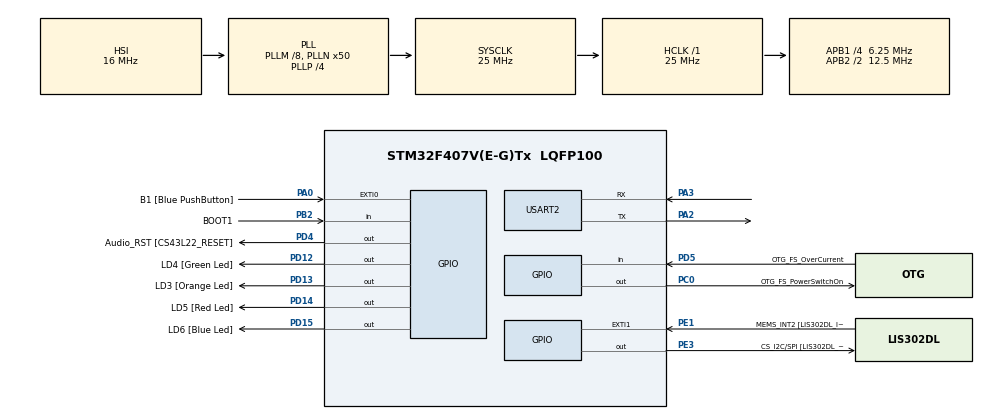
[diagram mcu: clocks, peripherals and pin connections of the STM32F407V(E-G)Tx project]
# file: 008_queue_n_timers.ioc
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Mcu.Family=STM32F4
Mcu.Name=STM32F407V(E-G)Tx
Mcu.Package=LQFP100
NVIC.PriorityGroup=NVIC_PRIORITYGROUP_4
NVIC.TIM6_DAC_IRQn=true\:15\:0\:false\:false\:true\:false\:true\:true
NVIC.TimeBase=TIM6_DAC_IRQn
NVIC.TimeBaseIP=TIM6
NVIC.USART2_IRQn=true\:6\:0\:true\:false\:true\:true\:true\:true
PA0-WKUP.GPIO_Label=B1 [Blue PushButton]
PA0-WKUP.Signal=GPXTI0
PA10.GPIO_Label=OTG_FS_ID
PA10.GPIO_Mode=GPIO_MODE_AF_PP
PA10.GPIO_PuPd=GPIO_NOPULL
PA10.GPIO_Speed=GPIO_SPEED_FREQ_LOW
PA10.Signal=USB_OTG_FS_ID
PA11.GPIO_Label=OTG_FS_DM
PA11.GPIO_Mode=GPIO_MODE_AF_PP
PA11.GPIO_PuPd=GPIO_NOPULL
PA11.GPIO_Speed=GPIO_SPEED_FREQ_LOW
PA11.Signal=USB_OTG_FS_DM
PA12.GPIO_Label=OTG_FS_DP
PA12.GPIO_Mode=GPIO_MODE_AF_PP
PA12.GPIO_PuPd=GPIO_NOPULL
PA12.GPIO_Speed=GPIO_SPEED_FREQ_LOW
PA12.Signal=USB_OTG_FS_DP
PA13.GPIO_Label=SWDIO
PA13.Signal=SYS_JTMS-SWDIO
PA14.GPIO_Label=SWCLK
PA14.Signal=SYS_JTCK-SWCLK
PA2.Mode=Asynchronous
PA2.Signal=USART2_TX
PA3.Mode=Asynchronous
PA3.Signal=USART2_RX
PA4.GPIO_Label=I2S3_WS [CS43L22_LRCK]
PA4.GPIO_Mode=GPIO_MODE_AF_PP
PA4.GPIO_PuPd=GPIO_NOPULL
PA4.GPIO_Speed=GPIO_SPEED_FREQ_LOW
PA4.Signal=I2S3_WS
PA5.GPIO_Label=SPI1_SCK [LIS302DL_SCL/SPC]
PA5.GPIO_Mode=GPIO_MODE_AF_PP
PA5.GPIO_PuPd=GPIO_NOPULL
PA5.GPIO_Speed=GPIO_SPEED_FREQ_LOW
PA5.Signal=SPI1_SCK
PA6.GPIO_Label=SPI1_MISO [LIS302DL_SDO]
PA6.GPIO_Mode=GPIO_MODE_AF_PP
PA6.GPIO_PuPd=GPIO_NOPULL
PA6.GPIO_Speed=GPIO_SPEED_FREQ_LOW
PA6.Signal=SPI1_MISO
PA7.GPIO_Label=SPI1_MOSI [LIS302DL_SDA/SDI/SDO]
PA7.GPIO_Mode=GPIO_MODE_AF_PP
PA7.GPIO_PuPd=GPIO_NOPULL
PA7.GPIO_Speed=GPIO_SPEED_FREQ_LOW
PA7.Signal=SPI1_MOSI
PA9.GPIO_Label=VBUS_FS
PA9.GPIO_Mode=GPIO_MODE_INPUT
PA9.GPIO_PuPd=GPIO_NOPULL
PA9.Signal=USB_OTG_FS_VBUS
PB10.GPIO_Label=CLK_IN [MP45DT02_CLK]
PB10.GPIO_Mode=GPIO_MODE_AF_PP
PB10.GPIO_PuPd=GPIO_NOPULL
PB10.GPIO_Speed=GPIO_SPEED_FREQ_LOW
PB10.Signal=I2S2_CK
PB2.GPIO_Label=BOOT1
PB2.GPIO_Mode=GPIO_MODE_INPUT
PB2.GPIO_PuPd=GPIO_NOPULL
PB2.Signal=GPIO_Input
PB3.GPIO_Label=SWO
PB3.Signal=SYS_JTDO-SWO
PB6.GPIO_Label=Audio_SCL [CS43L22_SCL]
PB6.GPIO_Mode=GPIO_MODE_AF_OD
PB6.GPIO_PuPd=GPIO_NOPULL
PB6.GPIO_Speed=GPIO_SPEED_FREQ_LOW
PB6.Signal=I2C1_SCL
PB9.GPIO_Label=Audio_SDA [CS43L22_SDA]
PB9.GPIO_Mode=GPIO_MODE_AF_OD
PB9.GPIO_PuPd=GPIO_NOPULL
PB9.GPIO_Speed=GPIO_SPEED_FREQ_LOW
PB9.Signal=I2C1_SDA
PC0.GPIO_Label=OTG_FS_PowerSwitchOn
PC0.GPIO_PuPd=GPIO_NOPULL
PC0.GPIO_Speed=GPIO_SPEED_FREQ_LOW
PC0.PinState=GPIO_PIN_SET
PC0.Signal=GPIO_Output
PC10.GPIO_Label=I2S3_SCK [CS43L22_SCLK]
PC10.GPIO_Mode=GPIO_MODE_AF_PP
PC10.GPIO_PuPd=GPIO_NOPULL
PC10.GPIO_Speed=GPIO_SPEED_FREQ_LOW
PC10.Signal=I2S3_CK
PC12.GPIO_Label=I2S3_SD [CS43L22_SDIN]
PC12.GPIO_Mode=GPIO_MODE_AF_PP
PC12.GPIO_PuPd=GPIO_NOPULL
PC12.GPIO_Speed=GPIO_SPEED_FREQ_LOW
PC12.Signal=I2S3_SD
PC14-OSC32_IN.GPIO_Label=PC14-OSC32_IN
PC14-OSC32_IN.Signal=RCC_OSC32_IN
PC15-OSC32_OUT.GPIO_Label=PC15-OSC32_OUT
PC15-OSC32_OUT.Signal=RCC_OSC32_OUT
PC3.GPIO_Label=PDM_OUT [MP45DT02_DOUT]
PC3.GPIO_Mode=GPIO_MODE_AF_PP
PC3.GPIO_PuPd=GPIO_NOPULL
PC3.GPIO_Speed=GPIO_SPEED_FREQ_LOW
PC3.Signal=I2S2_SD
PC7.GPIO_Label=I2S3_MCK [CS43L22_MCLK]
PC7.GPIO_Mode=GPIO_MODE_AF_PP
PC7.GPIO_PuPd=GPIO_NOPULL
PC7.GPIO_Speed=GPIO_SPEED_FREQ_LOW
PC7.Signal=I2S3_MCK
PD12.GPIO_Label=LD4 [Green Led]
PD12.GPIO_PuPd=GPIO_NOPULL
PD12.GPIO_Speed=GPIO_SPEED_FREQ_LOW
PD12.Signal=GPIO_Output
PD13.GPIO_Label=LD3 [Orange Led]
PD13.GPIO_PuPd=GPIO_NOPULL
PD13.GPIO_Speed=GPIO_SPEED_FREQ_LOW
PD13.Signal=GPIO_Output
PD14.GPIO_Label=LD5 [Red Led]
PD14.GPIO_PuPd=GPIO_NOPULL
PD14.GPIO_Speed=GPIO_SPEED_FREQ_LOW
PD14.Signal=GPIO_Output
PD15.GPIO_Label=LD6 [Blue Led]
PD15.GPIO_PuPd=GPIO_NOPULL
PD15.GPIO_Speed=GPIO_SPEED_FREQ_LOW
PD15.Signal=GPIO_Output
PD4.GPIO_Label=Audio_RST [CS43L22_RESET]
PD4.GPIO_PuPd=GPIO_NOPULL
PD4.GPIO_Speed=GPIO_SPEED_FREQ_LOW
PD4.Signal=GPIO_Output
PD5.GPIO_Label=OTG_FS_OverCurrent
PD5.GPIO_Mode=GPIO_MODE_INPUT
PD5.GPIO_PuPd=GPIO_NOPULL
PD5.Signal=GPIO_Input
PE1.GPIO_Label=MEMS_INT2 [LIS302DL_INT2]
PE1.GPIO_ModeDefaultEXTI=GPIO_MODE_EVT_RISING
PE1.GPIO_PuPd=GPIO_NOPULL
PE1.Signal=GPXTI1
PE3.GPIO_Label=CS_I2C/SPI [LIS302DL_CS_I2C/SPI]
PE3.GPIO_PuPd=GPIO_NOPULL
PE3.GPIO_Speed=GPIO_SPEED_FREQ_LOW
PE3.Signal=GPIO_Output
PH0-OSC_IN.GPIO_Label=PH0-OSC_IN
PH0-OSC_IN.Signal=RCC_OSC_IN
PH1-OSC_OUT.GPIO_Label=PH1-OSC_OUT
PH1-OSC_OUT.Signal=RCC_OSC_OUT
ProjectManager.HeapSize=0x200
ProjectManager.StackSize=0x400
ProjectManager.TargetToolchain=STM32CubeIDE
RCC.48MHZClocksFreq_Value=14285714.285714285
RCC.AHBFreq_Value=25000000
RCC.APB1CLKDivider=RCC_HCLK_DIV4
RCC.APB1Freq_Value=6250000
RCC.APB1TimFreq_Value=12500000
RCC.APB2CLKDivider=RCC_HCLK_DIV2
RCC.APB2Freq_Value=12500000
RCC.APB2TimFreq_Value=25000000
RCC.CortexFreq_Value=25000000
RCC.HCLKFreq_Value=25000000
RCC.HSE_VALUE=8000000
RCC.HSI_VALUE=16000000
RCC.LSE_VALUE=32768
RCC.PLLM=8
RCC.PLLN=50
RCC.PLLP=RCC_PLLP_DIV4
RCC.PLLQ=7
RCC.SYSCLKFreq_VALUE=25000000
RCC.SYSCLKSource=RCC_SYSCLKSOURCE_PLLCLK
RCC.VCOOutputFreq_Value=100000000
RTC.HourFormat=RTC_HOURFORMAT_12
USART2.VirtualMode=VM_ASYNC
VP_RTC_VS_RTC_Activate.Mode=RTC_Enabled
VP_SYS_VS_tim6.Mode=TIM6
board=STM32F407G-DISC1

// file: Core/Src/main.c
/* USER CODE BEGIN Header */
/**
  ******************************************************************************
  * @file           : main.c
  * @brief          : Main program body
  ******************************************************************************
  * @attention
  *
  * Copyright (c) 2026 STMicroelectronics.
  * All rights reserved.
  *
  * This software is licensed under terms that can be found in the LICENSE file
  * in the root directory of this software component.
  * If no LICENSE file comes with this software, it is provided AS-IS.
  *
  ******************************************************************************
  */
/* USER CODE END Header */
#include "main.h"

RTC_HandleTypeDef hrtc;

UART_HandleTypeDef huart2;

/* USER CODE BEGIN PV */

//taskHandle_t
TaskHandle_t cmd_handler ;
TaskHandle_t led_handler ;
TaskHandle_t menu_handler ;
TaskHandle_t print_handler ;

QueueHandle_t q_data;// each message is 1 byte data
QueueHandle_t q_print;// each message is address of string

volatile uint8_t user_data;

TimerHandle_t led_timer[4];

void led_effect_callback(TimerHandle_t xTimer);

/* USER CODE END PV */

void SystemClock_Config(void);
static void MX_GPIO_Init(void);
static void MX_RTC_Init(void);
static void MX_USART2_UART_Init(void);
/* USER CODE BEGIN PFP */

void cmd_handle_task(void * parameter);
void led_handle_task(void * parameter);
void menu_handle_task(void * parameter);
void print_handle_task(void * parameter);

/* USER CODE END PFP */

int main(void)
{

  /* USER CODE BEGIN 1 */
	BaseType_t status ;

  /* USER CODE END 1 */

  /* MCU Configuration--------------------------------------------------------*/

  /* Reset of all peripherals, Initializes the Flash interface and the Systick. */
  HAL_Init();

  /* Configure the system clock */
  SystemClock_Config();

  /* Initialize all configured peripherals */
  MX_GPIO_Init();
  MX_RTC_Init();
  MX_USART2_UART_Init();
  /* USER CODE BEGIN 2 */
  status = xTaskCreate(cmd_handle_task, "cmd_handle", 250, NULL, 2, &cmd_handler);

  configASSERT(status==pdPASS);

  status = xTaskCreate(led_handle_task, "led_handle", 250, NULL, 2, &led_handler);

  configASSERT(status==pdPASS);

  status = xTaskCreate(menu_handle_task, "menu_handle", 250, NULL, 2, &menu_handler);

  configASSERT(status==pdPASS);

  status = xTaskCreate(print_handle_task, "print_handle", 250, NULL, 2, &print_handler);

  configASSERT(status==pdPASS);

  q_data = xQueueCreate(10,sizeof(uint8_t));

  configASSERT(q_data != NULL);

  q_print = xQueueCreate(10,sizeof(size_t));

  configASSERT(q_print != NULL);

  for (int i=0;i<4;i++)
  {

	 led_timer[i] = xTimerCreate("led timer",
			  	  pdMS_TO_TICKS(500),
				  pdTRUE,
				  (void *)(i+1),
				  led_effect_callback);
	 configASSERT(led_timer[i] !=NULL);

  }

  HAL_UART_Receive_IT(&huart2,(uint8_t *) &user_data, 1);

  vTaskStartScheduler();

  /* USER CODE END 2 */

  /* Infinite loop */
  while (1)
  {

  }
}

void SystemClock_Config(void)
{
  RCC_OscInitTypeDef RCC_OscInitStruct = {0};
  RCC_ClkInitTypeDef RCC_ClkInitStruct = {0};

  /** Configure the main internal regulator output voltage
  */
  __HAL_RCC_PWR_CLK_ENABLE();
  __HAL_PWR_VOLTAGESCALING_CONFIG(PWR_REGULATOR_VOLTAGE_SCALE1);

  /** Initializes the RCC Oscillators according to the specified parameters
  * in the RCC_OscInitTypeDef structure.
  */
  RCC_OscInitStruct.OscillatorType = RCC_OSCILLATORTYPE_HSI|RCC_OSCILLATORTYPE_LSI;
  RCC_OscInitStruct.HSIState = RCC_HSI_ON;
  RCC_OscInitStruct.HSICalibrationValue = RCC_HSICALIBRATION_DEFAULT;
  RCC_OscInitStruct.LSIState = RCC_LSI_ON;
  RCC_OscInitStruct.PLL.PLLState = RCC_PLL_ON;
  RCC_OscInitStruct.PLL.PLLSource = RCC_PLLSOURCE_HSI;
  RCC_OscInitStruct.PLL.PLLM = 8;
  RCC_OscInitStruct.PLL.PLLN = 50;
  RCC_OscInitStruct.PLL.PLLP = RCC_PLLP_DIV4;
  RCC_OscInitStruct.PLL.PLLQ = 7;
  if (HAL_RCC_OscConfig(&RCC_OscInitStruct) != HAL_OK)
  {
    Error_Handler();
  }

  /** Initializes the CPU, AHB and APB buses clocks
  */
  RCC_ClkInitStruct.ClockType = RCC_CLOCKTYPE_HCLK|RCC_CLOCKTYPE_SYSCLK
                              |RCC_CLOCKTYPE_PCLK1|RCC_CLOCKTYPE_PCLK2;
  RCC_ClkInitStruct.SYSCLKSource = RCC_SYSCLKSOURCE_PLLCLK;
  RCC_ClkInitStruct.AHBCLKDivider = RCC_SYSCLK_DIV1;
  RCC_ClkInitStruct.APB1CLKDivider = RCC_HCLK_DIV4;
  RCC_ClkInitStruct.APB2CLKDivider = RCC_HCLK_DIV2;

  if (HAL_RCC_ClockConfig(&RCC_ClkInitStruct, FLASH_LATENCY_0) != HAL_OK)
  {
    Error_Handler();
  }
}

static void MX_RTC_Init(void)
{

  /** Initialize RTC Only
  */
  hrtc.Instance = RTC;
  hrtc.Init.HourFormat = RTC_HOURFORMAT_12;
  hrtc.Init.AsynchPrediv = 127;
  hrtc.Init.SynchPrediv = 255;
  hrtc.Init.OutPut = RTC_OUTPUT_DISABLE;
  hrtc.Init.OutPutPolarity = RTC_OUTPUT_POLARITY_HIGH;
  hrtc.Init.OutPutType = RTC_OUTPUT_TYPE_OPENDRAIN;
  if (HAL_RTC_Init(&hrtc) != HAL_OK)
  {
    Error_Handler();
  }

}

static void MX_USART2_UART_Init(void)
{

  huart2.Instance = USART2;
  huart2.Init.BaudRate = 115200;
  huart2.Init.WordLength = UART_WORDLENGTH_8B;
  huart2.Init.StopBits = UART_STOPBITS_1;
  huart2.Init.Parity = UART_PARITY_NONE;
  huart2.Init.Mode = UART_MODE_TX_RX;
  huart2.Init.HwFlowCtl = UART_HWCONTROL_NONE;
  huart2.Init.OverSampling = UART_OVERSAMPLING_16;
  if (HAL_UART_Init(&huart2) != HAL_OK)
  {
    Error_Handler();
  }

}

static void MX_GPIO_Init(void)
{
  GPIO_InitTypeDef GPIO_InitStruct = {0};

  /* GPIO Ports Clock Enable */
  __HAL_RCC_GPIOE_CLK_ENABLE();
  __HAL_RCC_GPIOC_CLK_ENABLE();
  __HAL_RCC_GPIOH_CLK_ENABLE();
  __HAL_RCC_GPIOA_CLK_ENABLE();
  __HAL_RCC_GPIOB_CLK_ENABLE();
  __HAL_RCC_GPIOD_CLK_ENABLE();

  /*Configure GPIO pin Output Level */
  HAL_GPIO_WritePin(CS_I2C_SPI_GPIO_Port, CS_I2C_SPI_Pin, GPIO_PIN_RESET);

  /*Configure GPIO pin Output Level */
  HAL_GPIO_WritePin(OTG_FS_PowerSwitchOn_GPIO_Port, OTG_FS_PowerSwitchOn_Pin, GPIO_PIN_SET);

  /*Configure GPIO pin Output Level */
  HAL_GPIO_WritePin(GPIOD, LD4_Pin|LD3_Pin|LD5_Pin|LD6_Pin
                          |Audio_RST_Pin, GPIO_PIN_RESET);

  /*Configure GPIO pin : CS_I2C_SPI_Pin */
  GPIO_InitStruct.Pin = CS_I2C_SPI_Pin;
  GPIO_InitStruct.Mode = GPIO_MODE_OUTPUT_PP;
  GPIO_InitStruct.Pull = GPIO_NOPULL;
  GPIO_InitStruct.Speed = GPIO_SPEED_FREQ_LOW;
  HAL_GPIO_Init(CS_I2C_SPI_GPIO_Port, &GPIO_InitStruct);

  /*Configure GPIO pin : OTG_FS_PowerSwitchOn_Pin */
  GPIO_InitStruct.Pin = OTG_FS_PowerSwitchOn_Pin;
  GPIO_InitStruct.Mode = GPIO_MODE_OUTPUT_PP;
  GPIO_InitStruct.Pull = GPIO_NOPULL;
  GPIO_InitStruct.Speed = GPIO_SPEED_FREQ_LOW;
  HAL_GPIO_Init(OTG_FS_PowerSwitchOn_GPIO_Port, &GPIO_InitStruct);

  /*Configure GPIO pin : PDM_OUT_Pin */
  GPIO_InitStruct.Pin = PDM_OUT_Pin;
  GPIO_InitStruct.Mode = GPIO_MODE_AF_PP;
  GPIO_InitStruct.Pull = GPIO_NOPULL;
  GPIO_InitStruct.Speed = GPIO_SPEED_FREQ_LOW;
  GPIO_InitStruct.Alternate = GPIO_AF5_SPI2;
  HAL_GPIO_Init(PDM_OUT_GPIO_Port, &GPIO_InitStruct);

  /*Configure GPIO pin : B1_Pin */
  GPIO_InitStruct.Pin = B1_Pin;
  GPIO_InitStruct.Mode = GPIO_MODE_IT_RISING;
  GPIO_InitStruct.Pull = GPIO_NOPULL;
  HAL_GPIO_Init(B1_GPIO_Port, &GPIO_InitStruct);

  /*Configure GPIO pin : I2S3_WS_Pin */
  GPIO_InitStruct.Pin = I2S3_WS_Pin;
  GPIO_InitStruct.Mode = GPIO_MODE_AF_PP;
  GPIO_InitStruct.Pull = GPIO_NOPULL;
  GPIO_InitStruct.Speed = GPIO_SPEED_FREQ_LOW;
  GPIO_InitStruct.Alternate = GPIO_AF6_SPI3;
  HAL_GPIO_Init(I2S3_WS_GPIO_Port, &GPIO_InitStruct);

  /*Configure GPIO pins : SPI1_SCK_Pin SPI1_MISO_Pin SPI1_MOSI_Pin */
  GPIO_InitStruct.Pin = SPI1_SCK_Pin|SPI1_MISO_Pin|SPI1_MOSI_Pin;
  GPIO_InitStruct.Mode = GPIO_MODE_AF_PP;
  GPIO_InitStruct.Pull = GPIO_NOPULL;
  GPIO_InitStruct.Speed = GPIO_SPEED_FREQ_LOW;
  GPIO_InitStruct.Alternate = GPIO_AF5_SPI1;
  HAL_GPIO_Init(GPIOA, &GPIO_InitStruct);

  /*Configure GPIO pin : BOOT1_Pin */
  GPIO_InitStruct.Pin = BOOT1_Pin;
  GPIO_InitStruct.Mode = GPIO_MODE_INPUT;
  GPIO_InitStruct.Pull = GPIO_NOPULL;
  HAL_GPIO_Init(BOOT1_GPIO_Port, &GPIO_InitStruct);

  /*Configure GPIO pin : CLK_IN_Pin */
  GPIO_InitStruct.Pin = CLK_IN_Pin;
  GPIO_InitStruct.Mode = GPIO_MODE_AF_PP;
  GPIO_InitStruct.Pull = GPIO_NOPULL;
  GPIO_InitStruct.Speed = GPIO_SPEED_FREQ_LOW;
  GPIO_InitStruct.Alternate = GPIO_AF5_SPI2;
  HAL_GPIO_Init(CLK_IN_GPIO_Port, &GPIO_InitStruct);

  /*Configure GPIO pins : LD4_Pin LD3_Pin LD5_Pin LD6_Pin
                           Audio_RST_Pin */
  GPIO_InitStruct.Pin = LD4_Pin|LD3_Pin|LD5_Pin|LD6_Pin
                          |Audio_RST_Pin;
  GPIO_InitStruct.Mode = GPIO_MODE_OUTPUT_PP;
  GPIO_InitStruct.Pull = GPIO_NOPULL;
  GPIO_InitStruct.Speed = GPIO_SPEED_FREQ_LOW;
  HAL_GPIO_Init(GPIOD, &GPIO_InitStruct);

  /*Configure GPIO pins : I2S3_MCK_Pin I2S3_SCK_Pin I2S3_SD_Pin */
  GPIO_InitStruct.Pin = I2S3_MCK_Pin|I2S3_SCK_Pin|I2S3_SD_Pin;
  GPIO_InitStruct.Mode = GPIO_MODE_AF_PP;
  GPIO_InitStruct.Pull = GPIO_NOPULL;
  GPIO_InitStruct.Speed = GPIO_SPEED_FREQ_LOW;
  GPIO_InitStruct.Alternate = GPIO_AF6_SPI3;
  HAL_GPIO_Init(GPIOC, &GPIO_InitStruct);

  /*Configure GPIO pin : VBUS_FS_Pin */
  GPIO_InitStruct.Pin = VBUS_FS_Pin;
  GPIO_InitStruct.Mode = GPIO_MODE_INPUT;
  GPIO_InitStruct.Pull = GPIO_NOPULL;
  HAL_GPIO_Init(VBUS_FS_GPIO_Port, &GPIO_InitStruct);

  /*Configure GPIO pins : OTG_FS_ID_Pin OTG_FS_DM_Pin OTG_FS_DP_Pin */
  GPIO_InitStruct.Pin = OTG_FS_ID_Pin|OTG_FS_DM_Pin|OTG_FS_DP_Pin;
  GPIO_InitStruct.Mode = GPIO_MODE_AF_PP;
  GPIO_InitStruct.Pull = GPIO_NOPULL;
  GPIO_InitStruct.Speed = GPIO_SPEED_FREQ_LOW;
  GPIO_InitStruct.Alternate = GPIO_AF10_OTG_FS;
  HAL_GPIO_Init(GPIOA, &GPIO_InitStruct);

  /*Configure GPIO pin : OTG_FS_OverCurrent_Pin */
  GPIO_InitStruct.Pin = OTG_FS_OverCurrent_Pin;
  GPIO_InitStruct.Mode = GPIO_MODE_INPUT;
  GPIO_InitStruct.Pull = GPIO_NOPULL;
  HAL_GPIO_Init(OTG_FS_OverCurrent_GPIO_Port, &GPIO_InitStruct);

  /*Configure GPIO pins : Audio_SCL_Pin Audio_SDA_Pin */
  GPIO_InitStruct.Pin = Audio_SCL_Pin|Audio_SDA_Pin;
  GPIO_InitStruct.Mode = GPIO_MODE_AF_OD;
  GPIO_InitStruct.Pull = GPIO_NOPULL;
  GPIO_InitStruct.Speed = GPIO_SPEED_FREQ_LOW;
  GPIO_InitStruct.Alternate = GPIO_AF4_I2C1;
  HAL_GPIO_Init(GPIOB, &GPIO_InitStruct);

  /*Configure GPIO pin : MEMS_INT2_Pin */
  GPIO_InitStruct.Pin = MEMS_INT2_Pin;
  GPIO_InitStruct.Mode = GPIO_MODE_EVT_RISING;
  GPIO_InitStruct.Pull = GPIO_NOPULL;
  HAL_GPIO_Init(MEMS_INT2_GPIO_Port, &GPIO_InitStruct);

}

/* USER CODE BEGIN 4 */

void HAL_UART_RxCpltCallback(UART_HandleTypeDef *huart)
{
	uint8_t dummy;

	//Send data to queue
	if(!xQueueIsQueueFullFromISR(q_data))
	{
		xQueueSendFromISR(q_data,(void *)&user_data,NULL);
	}
	else {
		if (user_data == '\r')
		{
			xQueueReceiveFromISR(q_data,(void *) &dummy, NULL);
			xQueueSendFromISR(q_data,(void *)&user_data,NULL);
		}
	}

	//handle when user '\r'
	if(user_data == '\r')
	{
		xTaskNotifyFromISR(cmd_handler,0,eNoAction,NULL);
	}

	//enable again uart rx
	HAL_UART_Receive_IT(&huart2,(uint8_t *) &user_data, 1);

}

void led_effect_callback(TimerHandle_t xTimer)
{
	uint32_t current_timer_id = (uint32_t)pvTimerGetTimerID(xTimer);

	switch (current_timer_id) {
		case 1:
			LED_effect1();
			break;
		case 2:
			LED_effect2();
			break;
		case 3:
			LED_effect3();
			break;
		case 4:
			LED_effect4();
			break;
		default:
			break;
	}

}

/* USER CODE END 4 */

void HAL_TIM_PeriodElapsedCallback(TIM_HandleTypeDef *htim)
{
  if (htim->Instance == TIM6)
  {
    HAL_IncTick();
  }
}

void Error_Handler(void)
{
  __disable_irq();
  while (1)
  {
  }
}
